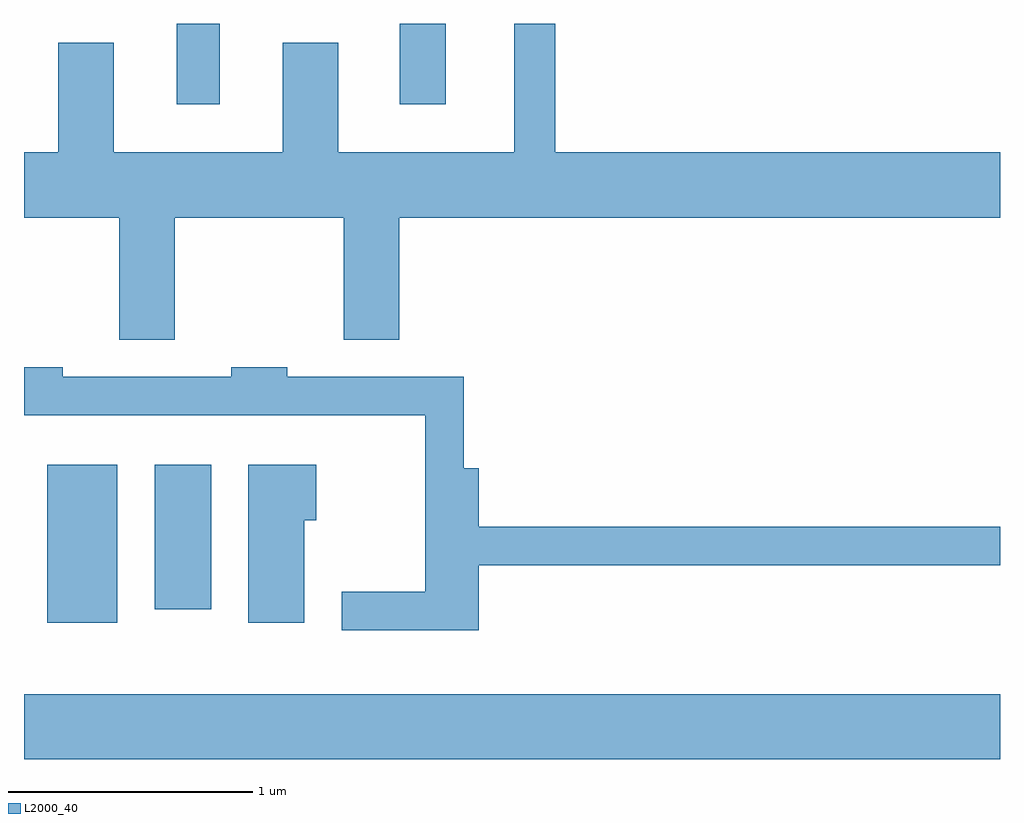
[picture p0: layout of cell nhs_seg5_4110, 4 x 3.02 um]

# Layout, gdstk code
import gdstk
lib = gdstk.Library(unit=1e-6, precision=1e-09)
def R(c, l, rs):  # rectangles x0, y0, x1, y1
    for r in rs: c.add(gdstk.rectangle(r[:2], r[2:], *l))
def P(c, l, *ps):  # polygons
    for p in ps: c.add(gdstk.Polygon(p, *l))
L2000_40 = (2000, 40)

nhs_seg5_4110 = lib.new_cell('nhs_seg5_4110')
R(nhs_seg5_4110, L2000_40, [(307.611,1419.056,311.611,1419.324), (307.706,1419.616,307.994,1420.264), (308.146,1419.671,308.379,1420.264), (308.236,1421.741,308.414,1422.072), (309.151,1421.741,309.339,1422.072)])
P(nhs_seg5_4110, L2000_40, [(308.229,1421.276),(308.921,1421.276),(308.921,1420.776),(309.149,1420.776),(309.149,1421.276),(311.611,1421.276),(311.611,1421.544),(309.789,1421.544),(309.789,1422.072),(309.621,1422.072),(309.621,1421.544),(308.899,1421.544),(308.899,1421.994),(308.671,1421.994),(308.671,1421.544),(307.979,1421.544),(307.979,1421.994),(307.751,1421.994),(307.751,1421.544),(307.611,1421.544),(307.611,1421.276),(308.001,1421.276),(308.001,1420.776),(308.229,1420.776)],
  [(309.474,1419.851),(311.611,1419.851),(311.611,1420.009),(309.474,1420.009),(309.474,1420.249),(309.414,1420.249),(309.414,1420.624),(308.689,1420.624),(308.689,1420.664),(308.461,1420.664),(308.461,1420.624),(307.769,1420.624),(307.769,1420.664),(307.611,1420.664),(307.611,1420.466),(309.256,1420.466),(309.256,1419.744),(308.913,1419.744),(308.913,1419.586),(309.474,1419.586)],
  [(308.759,1420.036),(308.809,1420.036),(308.809,1420.264),(308.531,1420.264),(308.531,1419.616),(308.759,1419.616)])

lib.write_gds('nhs_seg5_4110.gds')
